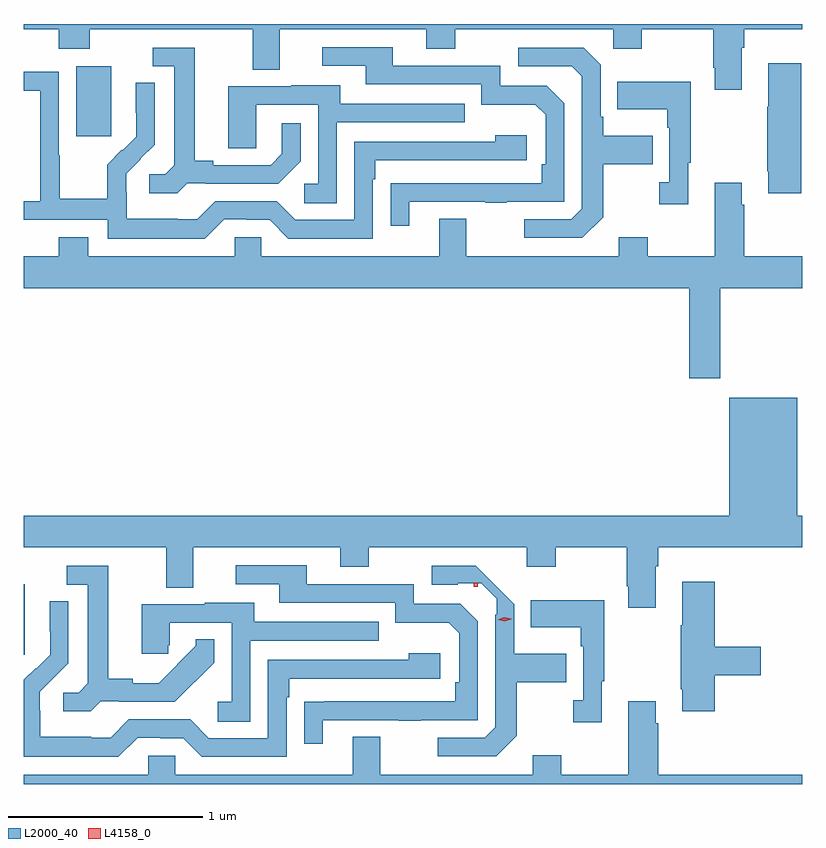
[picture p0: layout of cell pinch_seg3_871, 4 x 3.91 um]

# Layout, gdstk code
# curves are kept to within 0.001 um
import gdstk
lib = gdstk.Library(unit=1e-6, precision=1e-09)
def R(c, l, rs):  # rectangles x0, y0, x1, y1
    for r in rs: c.add(gdstk.rectangle(r[:2], r[2:], *l))
def P(c, l, *ps):  # polygons
    for p in ps: c.add(gdstk.Polygon(p, *l))
L2000_40 = (2000, 40)
L4158_0 = (4158, 0)

pinch_seg3_871 = lib.new_cell('pinch_seg3_871')
R(pinch_seg3_871, L2000_40, [(728.934,667.065,728.938,667.426), (729.203,669.729,729.382,670.09)])
P(pinch_seg3_871, L2000_40, [(732.625,670.184),(732.638,670.184),(732.638,670.28),(732.934,670.28),(732.934,670.307),(728.934,670.307),(728.934,670.28),(729.113,670.28),(729.113,670.181),(729.273,670.181),(729.273,670.28),(730.109,670.28),(730.109,670.072),(730.249,670.072),(730.249,670.28),(731.003,670.28),(731.003,670.181),(731.151,670.181),(731.151,670.28),(731.964,670.28),(731.964,670.181),(732.111,670.181),(732.111,670.28),(732.478,670.28),(732.478,670.081),(732.485,670.081),(732.485,669.969),(732.625,669.969)],
  [(730.915,669.393),(731.305,669.393),(731.305,669.388),(731.417,669.388),(731.417,669.393),(731.712,669.393),(731.712,669.9),(731.622,669.99),(731.382,669.99),(731.382,670.092),(730.831,670.092),(730.831,670.188),(730.467,670.188),(730.467,670.092),(730.691,670.092),(730.691,669.996),(731.286,669.996),(731.286,669.893),(731.563,669.893),(731.616,669.84),(731.616,669.586),(731.596,669.586),(731.596,669.489),(730.819,669.488),(730.819,669.27),(730.915,669.27)],
  [(729.774,669.489),(729.868,669.489),(729.868,669.486),(730.24,669.486),(730.356,669.602),(730.356,669.796),(730.259,669.796),(730.259,669.639),(730.202,669.582),(729.907,669.582),(729.907,669.605),(729.811,669.605),(729.811,670.185),(729.597,670.185),(729.597,670.089),(729.707,670.089),(729.707,669.581),(729.66,669.534),(729.579,669.534),(729.579,669.437),(729.722,669.437)],
  [(731.911,669.313),(731.911,669.586),(732.167,669.586),(732.167,669.733),(731.911,669.733),(731.911,669.829),(731.898,669.829),(731.898,670.098),(731.811,670.185),(731.475,670.185),(731.475,670.089),(731.751,670.089),(731.802,670.038),(731.802,669.357),(731.748,669.303),(731.505,669.303),(731.505,669.207),(731.805,669.207)],
  [(732.929,670.105),(732.761,670.105),(732.761,669.881),(732.754,669.881),(732.754,669.55),(732.761,669.55),(732.761,669.438),(732.929,669.438)],
  [(729.963,669.303),(730.079,669.303),(730.079,669.3),(730.197,669.3),(730.293,669.204),(730.728,669.204),(730.728,669.509),(730.741,669.509),(730.741,669.606),(731.518,669.606),(731.518,669.736),(731.357,669.736),(731.357,669.702),(730.632,669.702),(730.632,669.3),(730.329,669.3),(730.233,669.396),(729.918,669.396),(729.825,669.303),(729.725,669.303),(729.725,669.307),(729.462,669.307),(729.462,669.441),(729.46,669.441),(729.46,669.538),(729.606,669.686),(729.606,670.004),(729.51,670.004),(729.51,669.85),(729.512,669.85),(729.512,669.728),(729.441,669.657),(729.438,669.66),(729.361,669.583),(729.361,669.409),(729.117,669.409),(729.117,669.632),(729.114,669.632),(729.114,670.062),(728.934,670.062),(728.934,669.963),(729.018,669.963),(729.018,669.396),(728.934,669.396),(728.934,669.3),(729.366,669.3),(729.366,669.203),(729.863,669.203)],
  [(732.349,669.593),(732.361,669.593),(732.361,670.009),(731.983,670.009),(731.983,669.869),(732.24,669.869),(732.24,669.773),(732.252,669.773),(732.252,669.494),(732.201,669.494),(732.201,669.381),(732.349,669.381)],
  [(730.542,669.801),(731.201,669.801),(731.201,669.897),(730.561,669.897),(730.561,669.991),(730.307,669.991),(730.307,669.987),(729.983,669.987),(729.983,669.667),(730.128,669.667),(730.128,669.891),(730.446,669.891),(730.446,669.486),(730.374,669.486),(730.374,669.385),(730.542,669.385)],
  [(732.513,668.948),(732.934,668.948),(732.934,669.112),(732.638,669.112),(732.638,669.377),(732.625,669.377),(732.625,669.49),(732.485,669.49),(732.485,669.112),(732.141,669.112),(732.141,669.211),(731.993,669.211),(731.993,669.112),(731.209,669.112),(731.209,669.307),(731.069,669.307),(731.069,669.112),(730.155,669.112),(730.155,669.21),(730.017,669.21),(730.017,669.112),(729.265,669.112),(729.265,669.211),(729.113,669.211),(729.113,669.112),(728.934,669.112),(728.934,668.948),(732.353,668.948),(732.353,668.487),(732.513,668.487)],
  [(732.181,667.52),(732.194,667.52),(732.194,667.616),(732.934,667.616),(732.934,667.78),(732.91,667.78),(732.91,668.386),(732.56,668.386),(732.56,667.78),(728.934,667.78),(728.934,667.616),(729.665,667.616),(729.665,667.408),(729.805,667.408),(729.805,667.616),(730.559,667.616),(730.559,667.517),(730.707,667.517),(730.707,667.616),(731.519,667.616),(731.519,667.517),(731.667,667.517),(731.667,667.616),(732.034,667.616),(732.034,667.417),(732.041,667.417),(732.041,667.305),(732.181,667.305)],
  [(730.471,666.729),(730.861,666.729),(730.861,666.724),(730.973,666.724),(730.973,666.729),(731.268,666.729),(731.268,667.236),(731.178,667.326),(730.938,667.326),(730.938,667.428),(730.387,667.428),(730.387,667.524),(730.023,667.524),(730.023,667.428),(730.247,667.428),(730.247,667.332),(730.842,667.332),(730.842,667.229),(731.119,667.229),(731.172,667.176),(731.172,666.922),(731.152,666.922),(731.152,666.825),(730.375,666.824),(730.375,666.606),(730.471,666.606)],
  [(729.33,666.825),(729.424,666.825),(729.424,666.822),(729.71,666.822),(729.912,667.024),(729.912,667.145),(729.818,667.145),(729.818,667.111),(729.626,666.919),(729.493,666.919),(729.493,666.941),(729.367,666.941),(729.367,667.521),(729.153,667.521),(729.153,667.425),(729.263,667.425),(729.263,666.917),(729.216,666.87),(729.135,666.87),(729.135,666.773),(729.278,666.773)],
  [(731.467,666.649),(731.467,666.922),(731.723,666.922),(731.723,667.069),(731.454,667.069),(731.454,667.324),(731.257,667.521),(731.031,667.521),(731.031,667.425),(731.163,667.425),(731.163,667.431),(731.285,667.431),(731.364,667.352),(731.364,667.271),(731.358,667.271),(731.358,666.693),(731.304,666.639),(731.061,666.639),(731.061,666.543),(731.361,666.543)],
  [(732.485,666.959),(732.721,666.959),(732.721,667.106),(732.485,667.106),(732.485,667.441),(732.317,667.441),(732.317,667.217),(732.31,667.217),(732.31,666.886),(732.317,666.886),(732.317,666.774),(732.485,666.774)],
  [(731.905,666.929),(731.917,666.929),(731.917,667.345),(731.539,667.345),(731.539,667.205),(731.796,667.205),(731.796,667.109),(731.808,667.109),(731.808,666.83),(731.757,666.83),(731.757,666.717),(731.905,666.717)],
  [(729.519,666.639),(729.635,666.639),(729.635,666.636),(729.753,666.636),(729.849,666.54),(730.284,666.54),(730.284,666.845),(730.297,666.845),(730.297,666.942),(731.074,666.942),(731.074,667.072),(730.913,667.072),(730.913,667.038),(730.188,667.038),(730.188,666.636),(729.885,666.636),(729.789,666.732),(729.474,666.732),(729.381,666.639),(729.281,666.639),(729.281,666.643),(729.018,666.643),(729.018,666.777),(729.016,666.777),(729.016,666.874),(729.162,667.022),(729.162,667.34),(729.066,667.34),(729.066,667.186),(729.068,667.186),(729.068,667.064),(728.997,666.993),(728.994,666.996),(728.934,666.936),(728.934,666.539),(729.419,666.539)],
  [(730.098,667.137),(730.757,667.137),(730.757,667.233),(730.117,667.233),(730.117,667.331),(729.863,667.331),(729.863,667.323),(729.539,667.323),(729.539,667.069),(729.675,667.069),(729.675,667.112),(729.684,667.112),(729.684,667.23),(730.002,667.23),(730.002,666.822),(729.93,666.822),(729.93,666.721),(730.098,666.721)],
  [(732.934,666.448),(732.194,666.448),(732.194,666.713),(732.181,666.713),(732.181,666.826),(732.041,666.826),(732.041,666.448),(731.697,666.448),(731.697,666.547),(731.549,666.547),(731.549,666.448),(730.765,666.448),(730.765,666.643),(730.625,666.643),(730.625,666.448),(729.711,666.448),(729.711,666.546),(729.573,666.546),(729.573,666.448),(728.934,666.448),(728.934,666.4),(732.934,666.4)])
R(pinch_seg3_871, L4158_0, [(731.246,667.415,731.266,667.435)])
P(pinch_seg3_871, L4158_0, [(731.405,667.237),(731.369,667.245),(731.369,667.245),(731.369,667.245),(731.404,667.257),(731.439,667.249),(731.44,667.249),(731.439,667.248)])

lib.write_gds('pinch_seg3_871.gds')
